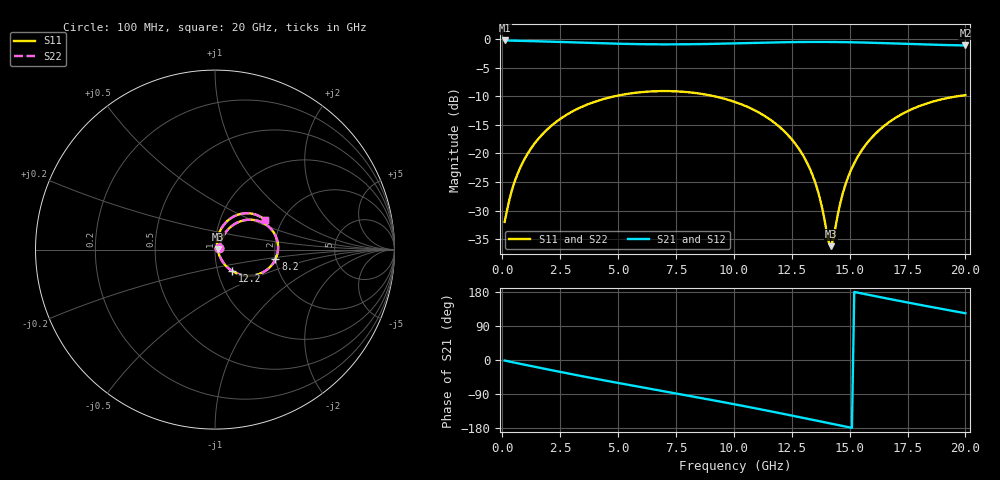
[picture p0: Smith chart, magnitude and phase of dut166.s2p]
! Touchstone file exported from HFSS 2026.1.0
!  File:  C:/ffzhzh/LocalFiles/Ansys_Project_Files/temp_train_TSV_RDL_166_1783054616_17544.aedt
!  Generated:  01:05:36 PM Jul  3, 2026
!  Design:  TSV_RDL
!  Project:  temp_train_TSV_RDL_166_1783054616_17544
! Variables:
!  h_bsmrdl = 2.95um
!  h_ox = 20um
!  h_rdl = 5um
!  h_sub = 55.11um
!  h_tmrdl = 2.42um
!  h_tsv = 55.11um
!  h_via = 3um
!  l_bsmrdl = 974.03um
!  l_sub = 4076.33um
!  l_tmrdl = 159.07um
!  m_sub = 200um
!  pitch = 39.82um
!  r_tsv = 7.74um
!  s_tmrdl = 10um
!  w_bsmrdl = 28.95um
!  w_sub = 500um
!  w_tmrdl = 10.37um
!  x_tsv_center1 = 164.255um
!  x_tsv_center2 = 1167.235um
!  x_tsv_center3 = 1336.675um
!  x_tsv_center4 = 2339.655um
!  x_tsv_center5 = 2509.095um
!  x_tsv_center6 = 3512.075um
# GHz S MA R 50.000000
! Terminal data exported
! Port[1] = TM_RDL1_1_T1
! Port[2] = TM_RDL5_1_T1
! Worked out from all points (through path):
!   200 points, 100 MHz to 20 GHz, reference 50 ohm
!   highest |S21| = -0.20 dB at 100 MHz (marker M1); lowest = -1.1 dB at 20 GHz (marker M2)
!   group delay of S21, straight-line fit = 32.7 ps
!   lowest |S11| = -36.2 dB at 14.2 GHz (marker M3), VSWR 1.03, Z = 51.5 + j0.409 ohm
!   |S11| at or under -10 dB: start of sweep to 4.829 GHz; 9.183 GHz to 19.62 GHz (10.44 GHz wide, 72.5 % of centre)
!   |S22| runs from -36.2 to -9.1 dB; largest |S21 - S12| = 2e-14
!   S11 on the Smith chart (normalised r, x): 100 MHz: 1.05, +0.02; 8.2 GHz: 2.00, -0.24; 12.2 GHz: 1.18, -0.29; 20 GHz: 1.64, +0.60
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0.1  0.02511 23.4  0.9771 -1.4  0.9771 -1.4  0.02511 23.4
! Gamma 0 0 0 0
! Port Impedance 50 0 50 0
0.5  0.05404 53.2  0.9718 -6.6  0.9718 -6.6  0.05404 53.2
1.2  0.1075 58.5  0.9647 -15.4  0.9647 -15.4  0.1075 58.5
2.2  0.1805 52.4  0.9526 -27.8  0.9526 -27.8  0.1805 52.4
3.5  0.2595 40.0  0.934 -43.3  0.934 -43.3  0.2595 39.9
5.1  0.3246 23.4  0.9138 -61.7  0.9138 -61.7  0.3246 23.4
6.8  0.3516 5.7  0.9034 -80.6  0.9034 -80.6  0.3516 5.7
8.2  0.3412 -8.9  0.9059 -96.0  0.9059 -96.0  0.3411 -8.9
10.1  0.2801 -29.2  0.922 -117.6  0.922 -117.6  0.28 -29.2
11.3  0.215 -42.0  0.935 -131.9  0.935 -131.9  0.215 -42.0
12.2  0.1548 -51.0  0.9431 -142.9  0.9431 -142.9  0.1548 -51.0
12.9  0.103 -56.6  0.9473 -151.6  0.9473 -151.6  0.1029 -56.5
13.4  0.06449 -57.5  0.9486 -157.8  0.9486 -157.8  0.06446 -57.4
13.7  0.04159 -53.2  0.9487 -161.6  0.9487 -161.6  0.04159 -53.1
14.1  0.01663 -12.6  0.948 -166.6  0.948 -166.6  0.01675 -12.3
14.2  0.0154 14.9  0.9477 -167.9  0.9477 -167.9  0.01556 15.1
14.7  0.04434 72.8  0.9452 -174.1  0.9452 -174.1  0.04446 72.6
15.1  0.07462 76.3  0.9421 -179.1  0.9421 -179.1  0.07472 76.1
15.8  0.1266 72.8  0.935 172.2  0.935 172.2  0.1267 72.7
16.7  0.1877 64.5  0.9233 161.3  0.9233 161.3  0.1878 64.4
18.2  0.2684 49.0  0.9022 143.7  0.9022 143.7  0.2685 48.9
20  0.3239 30.3  0.8835 123.4  0.8835 123.4  0.324 30.2
